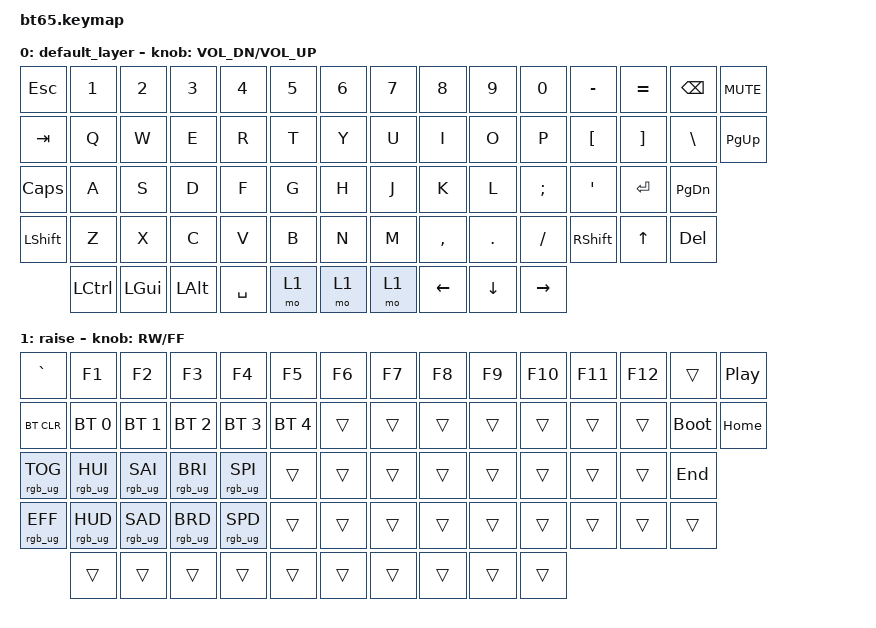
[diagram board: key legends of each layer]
#include <behaviors.dtsi>
#include <dt-bindings/zmk/bt.h>
#include <dt-bindings/zmk/keys.h>
#include <dt-bindings/zmk/rgb.h>

/ {
    keymap {
        compatible = "zmk,keymap";

        default_layer {
            // ------------------------------------------------------------------------------------------------------------
            // |  `  |  1  |  2  |  3  |  4  |  5  |  6  |  7  |  8  |  9  |  0  |  -  |  =  |BKSP | INS		|
            // | TAB  |  Q  |  W  |  E  |  R  |  T  |  Y  |  U  |  I  |  O  |  P  |  [  |  ]  |   \    | DEL		|
            // | CAPS  |  A  |  S  |  D  |  F  |  G  |  H  |  J  |  K  |  L  |  ;  |  '  |     ENTER    |PGUP	|
            // |  SHIFT  |  Z  |  X  |  C  |  V  |  B  |  N  |  M  |  ,  |  .  | /   |   SHIFT  | UP   | PGDN|
            // |  CTL  |  WIN  |  ALT  |            SPACE               | ALT | 1    |  MENU| LEFT |  DOWN    | RIGHT	|
            // ------------------------------------------------------------------------------------------------------------

            bindings = <
&kp ESCAPE  &kp N1     &kp N2    &kp N3    &kp N4     &kp N5  &kp N6  &kp N7  &kp N8     &kp N9    &kp N0     &kp MINUS  &kp EQUAL  &kp BACKSPACE  &kp C_MUTE
&kp TAB     &kp Q      &kp W     &kp E     &kp R      &kp T   &kp Y   &kp U   &kp I      &kp O     &kp P      &kp LBKT   &kp RBKT   &kp BSLH       &kp PAGE_UP
&kp CLCK    &kp A      &kp S     &kp D     &kp F      &kp G   &kp H   &kp J   &kp K      &kp L     &kp SEMI   &kp SQT    &kp RET    &kp PAGE_DOWN
&kp LSHFT   &kp Z      &kp X     &kp C     &kp V      &kp B   &kp N   &kp M   &kp COMMA  &kp DOT   &kp FSLH   &kp RSHFT  &kp UP     &kp DELETE
            &kp LCTRL  &kp LGUI  &kp LALT  &kp SPACE  &mo 1   &mo 1   &mo 1   &kp LEFT   &kp DOWN  &kp RIGHT
            >;

            sensor-bindings = <&inc_dec_kp C_VOL_DN C_VOL_UP>;
        };

        raise {
            bindings = <
&kp GRAVE        &kp F1           &kp F2           &kp F3           &kp F4           &kp F5        &kp F6  &kp F7  &kp F8  &kp F9  &kp F10  &kp F11  &kp F12  &trans       &kp C_PP
&bt BT_CLR       &bt BT_SEL 0     &bt BT_SEL 1     &bt BT_SEL 2     &bt BT_SEL 3     &bt BT_SEL 4  &trans  &trans  &trans  &trans  &trans   &trans   &trans   &bootloader  &kp HOME
&rgb_ug RGB_TOG  &rgb_ug RGB_HUI  &rgb_ug RGB_SAI  &rgb_ug RGB_BRI  &rgb_ug RGB_SPI  &trans        &trans  &trans  &trans  &trans  &trans   &trans   &trans   &kp END
&rgb_ug RGB_EFF  &rgb_ug RGB_HUD  &rgb_ug RGB_SAD  &rgb_ug RGB_BRD  &rgb_ug RGB_SPD  &trans        &trans  &trans  &trans  &trans  &trans   &trans   &trans   &trans
                 &trans           &trans           &trans           &trans           &trans        &trans  &trans  &trans  &trans  &trans
            >;

            sensor-bindings = <&inc_dec_kp C_RW C_FF>;
        };
    };
};
